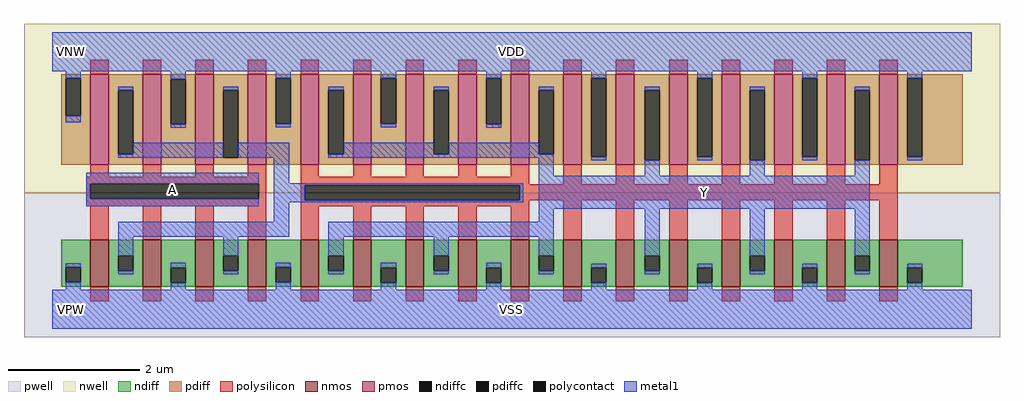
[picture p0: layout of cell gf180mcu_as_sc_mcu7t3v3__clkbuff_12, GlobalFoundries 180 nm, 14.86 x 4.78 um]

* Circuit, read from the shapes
.subckt gf180mcu_as_sc_mcu7t3v3__clkbuff_12 VDD VNW VPW VSS A Y
XM1 n1 A VSS VPW nfet_03v3 w=0.72u l=0.28u m=4
XM2 Y n1 VSS VPW nfet_03v3 w=0.72u l=0.28u m=12
XM3 n1 A VDD VNW pfet_03v3 w=1.38u l=0.28u m=4
XM4 Y n1 VDD VNW pfet_03v3 w=1.38u l=0.28u m=12
.ends

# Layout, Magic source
magic
tech gf180mcuD
magscale 1 10
<< nwell >>
rect -86 354 2886 870
<< pwell >>
rect -86 -86 2886 354
<< nmos >>
rect 116 68 172 212
rect 276 68 332 212
rect 436 68 492 212
rect 596 68 652 212
rect 756 68 812 212
rect 916 68 972 212
rect 1076 68 1132 212
rect 1236 68 1292 212
rect 1396 68 1452 212
rect 1556 68 1612 212
rect 1716 68 1772 212
rect 1879 68 1935 212
rect 2039 68 2095 212
rect 2199 68 2255 212
rect 2359 68 2415 212
rect 2519 68 2575 212
<< pmos >>
rect 116 440 172 716
rect 276 440 332 716
rect 436 440 492 716
rect 596 440 652 716
rect 756 440 812 716
rect 916 440 972 716
rect 1076 440 1132 716
rect 1236 440 1292 716
rect 1396 440 1452 716
rect 1556 440 1612 716
rect 1716 440 1772 716
rect 1879 440 1935 716
rect 2039 440 2095 716
rect 2199 440 2255 716
rect 2359 440 2415 716
rect 2519 440 2575 716
<< ndiff >>
rect 28 128 116 212
rect 28 82 41 128
rect 87 82 116 128
rect 28 68 116 82
rect 172 163 276 212
rect 172 117 201 163
rect 247 117 276 163
rect 172 68 276 117
rect 332 127 436 212
rect 332 81 361 127
rect 407 81 436 127
rect 332 68 436 81
rect 492 163 596 212
rect 492 117 521 163
rect 567 117 596 163
rect 492 68 596 117
rect 652 128 756 212
rect 652 82 681 128
rect 727 82 756 128
rect 652 68 756 82
rect 812 163 916 212
rect 812 117 841 163
rect 887 117 916 163
rect 812 68 916 117
rect 972 127 1076 212
rect 972 81 1001 127
rect 1047 81 1076 127
rect 972 68 1076 81
rect 1132 163 1236 212
rect 1132 117 1161 163
rect 1207 117 1236 163
rect 1132 68 1236 117
rect 1292 127 1396 212
rect 1292 81 1321 127
rect 1367 81 1396 127
rect 1292 68 1396 81
rect 1452 163 1556 212
rect 1452 117 1481 163
rect 1527 117 1556 163
rect 1452 68 1556 117
rect 1612 127 1716 212
rect 1612 81 1641 127
rect 1687 81 1716 127
rect 1612 68 1716 81
rect 1772 163 1879 212
rect 1772 117 1804 163
rect 1850 117 1879 163
rect 1772 68 1879 117
rect 1935 127 2039 212
rect 1935 81 1964 127
rect 2010 81 2039 127
rect 1935 68 2039 81
rect 2095 163 2199 212
rect 2095 117 2124 163
rect 2170 117 2199 163
rect 2095 68 2199 117
rect 2255 127 2359 212
rect 2255 81 2284 127
rect 2330 81 2359 127
rect 2255 68 2359 81
rect 2415 163 2519 212
rect 2415 117 2444 163
rect 2490 117 2519 163
rect 2415 68 2519 117
rect 2575 127 2772 212
rect 2575 81 2604 127
rect 2650 81 2772 127
rect 2575 68 2772 81
<< pdiff >>
rect 28 703 116 716
rect 28 589 41 703
rect 87 589 116 703
rect 28 440 116 589
rect 172 667 276 716
rect 172 472 201 667
rect 247 472 276 667
rect 172 440 276 472
rect 332 701 436 716
rect 332 564 361 701
rect 407 564 436 701
rect 332 440 436 564
rect 492 667 596 716
rect 492 461 521 667
rect 567 461 596 667
rect 492 440 596 461
rect 652 703 756 716
rect 652 565 681 703
rect 727 565 756 703
rect 652 440 756 565
rect 812 667 916 716
rect 812 472 841 667
rect 887 472 916 667
rect 812 440 916 472
rect 972 703 1076 716
rect 972 565 1001 703
rect 1047 565 1076 703
rect 972 440 1076 565
rect 1132 667 1236 716
rect 1132 472 1161 667
rect 1207 472 1236 667
rect 1132 440 1236 472
rect 1292 703 1396 716
rect 1292 564 1321 703
rect 1367 564 1396 703
rect 1292 440 1396 564
rect 1452 667 1556 716
rect 1452 472 1481 667
rect 1527 472 1556 667
rect 1452 440 1556 472
rect 1612 703 1716 716
rect 1612 464 1641 703
rect 1687 464 1716 703
rect 1612 440 1716 464
rect 1772 667 1879 716
rect 1772 453 1804 667
rect 1850 453 1879 667
rect 1772 440 1879 453
rect 1935 703 2039 716
rect 1935 464 1964 703
rect 2010 464 2039 703
rect 1935 440 2039 464
rect 2095 667 2199 716
rect 2095 453 2124 667
rect 2170 453 2199 667
rect 2095 440 2199 453
rect 2255 703 2359 716
rect 2255 464 2284 703
rect 2330 464 2359 703
rect 2255 440 2359 464
rect 2415 667 2519 716
rect 2415 453 2444 667
rect 2490 453 2519 667
rect 2415 440 2519 453
rect 2575 703 2772 716
rect 2575 464 2604 703
rect 2650 464 2772 703
rect 2575 440 2772 464
<< ndiffc >>
rect 41 82 87 128
rect 201 117 247 163
rect 361 81 407 127
rect 521 117 567 163
rect 681 82 727 128
rect 841 117 887 163
rect 1001 81 1047 127
rect 1161 117 1207 163
rect 1321 81 1367 127
rect 1481 117 1527 163
rect 1641 81 1687 127
rect 1804 117 1850 163
rect 1964 81 2010 127
rect 2124 117 2170 163
rect 2284 81 2330 127
rect 2444 117 2490 163
rect 2604 81 2650 127
<< pdiffc >>
rect 41 589 87 703
rect 201 472 247 667
rect 361 564 407 701
rect 521 461 567 667
rect 681 565 727 703
rect 841 472 887 667
rect 1001 565 1047 703
rect 1161 472 1207 667
rect 1321 564 1367 703
rect 1481 472 1527 667
rect 1641 464 1687 703
rect 1804 453 1850 667
rect 1964 464 2010 703
rect 2124 453 2170 667
rect 2284 464 2330 703
rect 2444 453 2490 667
rect 2604 464 2650 703
<< polysilicon >>
rect 116 716 172 760
rect 276 716 332 760
rect 436 716 492 760
rect 596 716 652 760
rect 756 716 812 760
rect 916 716 972 760
rect 1076 716 1132 760
rect 1236 716 1292 760
rect 1396 716 1452 760
rect 1556 716 1612 760
rect 1716 716 1772 760
rect 1879 716 1935 760
rect 2039 716 2095 760
rect 2199 716 2255 760
rect 2359 716 2415 760
rect 2519 716 2575 760
rect 116 403 172 440
rect 276 403 332 440
rect 436 403 492 440
rect 596 403 652 440
rect 103 382 652 403
rect 103 336 116 382
rect 629 336 652 382
rect 103 314 652 336
rect 116 212 172 314
rect 276 212 332 314
rect 436 212 492 314
rect 596 212 652 314
rect 756 403 812 440
rect 916 403 972 440
rect 1076 403 1132 440
rect 1236 403 1292 440
rect 1396 403 1452 440
rect 756 381 1452 403
rect 1556 381 1612 440
rect 1716 381 1772 440
rect 1879 381 1935 440
rect 2039 381 2095 440
rect 2199 381 2255 440
rect 2359 381 2415 440
rect 2519 381 2575 440
rect 756 378 2575 381
rect 756 332 769 378
rect 1424 332 2575 378
rect 756 314 1452 332
rect 756 212 812 314
rect 916 212 972 314
rect 1076 212 1132 314
rect 1236 212 1292 314
rect 1396 212 1452 314
rect 1556 212 1612 332
rect 1716 212 1772 332
rect 1879 212 1935 332
rect 2039 212 2095 332
rect 2199 212 2255 332
rect 2359 212 2415 332
rect 2519 212 2575 332
rect 116 24 172 68
rect 276 24 332 68
rect 436 24 492 68
rect 596 24 652 68
rect 756 24 812 68
rect 916 24 972 68
rect 1076 24 1132 68
rect 1236 24 1292 68
rect 1396 24 1452 68
rect 1556 24 1612 68
rect 1716 24 1772 68
rect 1879 24 1935 68
rect 2039 24 2095 68
rect 2199 24 2255 68
rect 2359 24 2415 68
rect 2519 24 2575 68
<< polycontact >>
rect 116 336 629 382
rect 769 332 1424 378
<< metal1 >>
rect 0 724 2800 844
rect 41 703 87 724
rect 361 701 407 724
rect 41 570 87 589
rect 201 667 247 678
rect 681 703 727 724
rect 361 553 407 564
rect 521 667 567 678
rect 247 472 521 507
rect 201 461 521 472
rect 1001 703 1047 724
rect 681 554 727 565
rect 841 667 887 678
rect 567 461 721 507
rect 1321 703 1367 724
rect 1001 554 1047 565
rect 1161 667 1207 678
rect 887 472 1161 507
rect 1641 703 1687 724
rect 1321 553 1367 564
rect 1481 667 1527 678
rect 1207 472 1481 507
rect 841 461 1527 472
rect 103 382 629 415
rect 103 336 116 382
rect 103 314 629 336
rect 675 384 721 461
rect 1481 407 1527 461
rect 1964 703 2010 724
rect 1641 453 1687 464
rect 1804 667 1850 678
rect 2284 703 2330 724
rect 1964 453 2010 464
rect 2124 667 2170 678
rect 2604 703 2650 724
rect 2284 453 2330 464
rect 2444 667 2490 678
rect 2604 453 2650 464
rect 1804 407 1850 453
rect 2124 407 2170 453
rect 2444 407 2490 453
rect 675 378 1435 384
rect 675 332 769 378
rect 1424 332 1435 378
rect 675 326 1435 332
rect 675 266 721 326
rect 1481 306 2490 407
rect 1481 266 1527 306
rect 201 220 721 266
rect 841 220 1527 266
rect 201 163 247 220
rect 41 128 87 140
rect 521 163 567 220
rect 201 106 247 117
rect 361 127 407 142
rect 41 60 87 82
rect 841 163 887 220
rect 521 106 567 117
rect 681 128 727 142
rect 361 60 407 81
rect 1161 163 1207 220
rect 841 106 887 117
rect 1001 127 1047 142
rect 681 60 727 82
rect 1481 163 1527 220
rect 1161 106 1207 117
rect 1321 127 1367 142
rect 1001 60 1047 81
rect 1804 163 1850 306
rect 1481 106 1527 117
rect 1641 127 1687 138
rect 1321 60 1367 81
rect 2124 163 2170 306
rect 1804 106 1850 117
rect 1964 127 2010 138
rect 1641 60 1687 81
rect 2444 163 2490 306
rect 2124 106 2170 117
rect 2284 127 2330 138
rect 1964 60 2010 81
rect 2444 106 2490 117
rect 2604 127 2650 138
rect 2284 60 2330 81
rect 2604 60 2650 81
rect 0 -60 2800 60
<< labels >>
flabel metal1 s 0 724 2800 844 0 FreeSans 400 0 0 0 VDD
port 1 nsew power bidirectional abutment
flabel metal1 s 0 -60 2800 60 0 FreeSans 400 0 0 0 VSS
port 4 nsew ground bidirectional abutment
flabel nwell s 10 734 110 834 0 FreeSans 400 0 0 0 VNW
port 2 nsew power bidirectional
flabel pwell s 10 -50 110 50 0 FreeSans 400 0 0 0 VPW
port 3 nsew ground bidirectional
flabel metal1 103 314 629 415 0 FreeSans 200 0 0 0 A
port 5 nsew signal input
flabel metal1 1481 306 2490 407 0 FreeSans 200 0 0 0 Y
port 6 nsew signal output
<< properties >>
string FIXED_BBOX 0 0 2800 784
string LEFclass CORE
string LEFsite unithd
string LEFsymmetry X Y
string MASKHINTS_NPLUS -16 -46 2816 354
string MASKHINTS_PPLUS -16 354 2816 830
<< end >>
